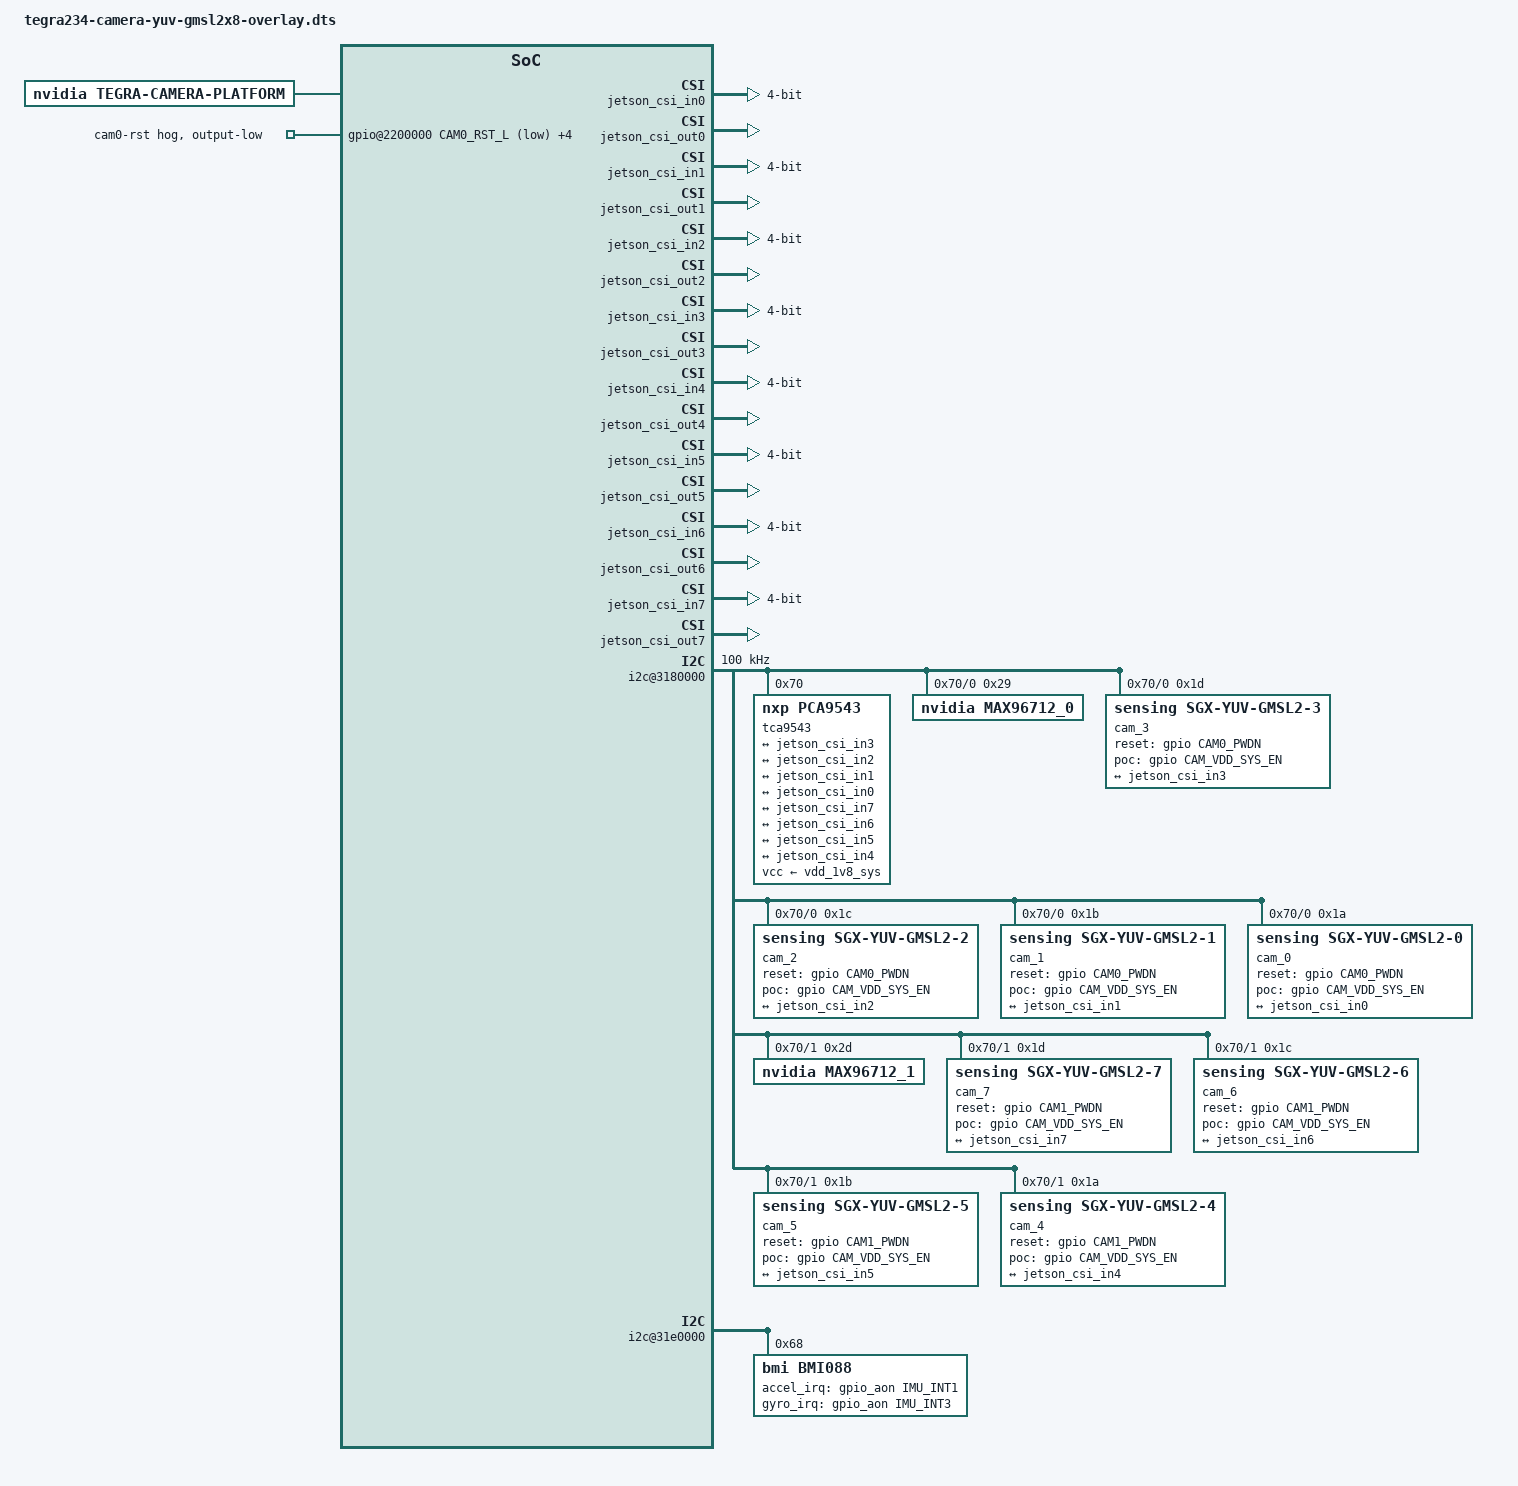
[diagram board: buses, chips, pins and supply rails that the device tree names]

// SPDX-License-Identifier: GPL-2.0-only
// SPDX-FileCopyrightText: Copyright (c) 2018-2023, INTEL CORPORATION.  All rights reserved.

/dts-v1/;
/plugin/;

#include <dt-bindings/clock/tegra234-clock.h>
#include <dt-bindings/gpio/tegra234-gpio.h>
#include <dt-bindings/tegra234-p3737-0000+p3701-0000.h>

/* camera control gpio definitions */
#define CAM0_RST_L		TEGRA234_MAIN_GPIO(H, 3)
#define CAM0_PWDN		TEGRA234_MAIN_GPIO(H, 6)
#define CAM1_RST_L		TEGRA234_MAIN_GPIO(AC, 1)
#define CAM1_PWDN		TEGRA234_MAIN_GPIO(AC, 0)
#define CAM_VDD_SYS_EN	TEGRA234_MAIN_GPIO(AC, 7)

#define IMU_INT1		TEGRA234_AON_GPIO(CC, 2)
#define IMU_INT2		TEGRA234_AON_GPIO(CC, 3)
#define IMU_INT3		TEGRA234_AON_GPIO(CC, 1)
#define IMU_INT4		TEGRA234_AON_GPIO(CC, 0)

#define CAMERA_I2C_MUX_BUS(x) (0x1E + x)

/ {
	overlay-name = "Jetson Sensing SG8A-AGON-G2Y-B1 YUV GMSL2x8";
	jetson-header-name = "Jetson AGX CSI Connector";
	compatible = JETSON_COMPATIBLE;

	fragment@0 {
		target-path = "/";
		__overlay__ {
			tegra-capture-vi {
				num-channels = <8>;
				ports {
					status = "okay";
					port@0 {
						reg = <0>;
						status = "okay";
						jetson_vi_in0: endpoint {
							status = "okay";
							vc-id = <0>;
							port-index = <2>;
							bus-width = <4>;
							remote-endpoint = <&jetson_csi_out0>;
						};
					};
					port@1 {
						reg = <1>;
						status = "okay";
						jetson_vi_in1: endpoint {
							status = "okay";
							vc-id = <1>;
							port-index = <2>;
							bus-width = <4>;
							remote-endpoint = <&jetson_csi_out1>;
						};
					};
					port@2 {
						reg = <2>;
						status = "okay";
						jetson_vi_in2: endpoint {
							status = "okay";
							vc-id = <2>;
							port-index = <0>;
							bus-width = <4>;
							remote-endpoint = <&jetson_csi_out2>;
						};
					};
					port@3 {
						reg = <3>;
						status = "okay";
						jetson_vi_in3: endpoint {
							status = "okay";
							vc-id = <3>;
							port-index = <0>;
							bus-width = <4>;
							remote-endpoint = <&jetson_csi_out3>;
						};
					};
					port@4 {
						reg = <4>;
						status = "okay";
						jetson_vi_in4: endpoint {
							status = "okay";
							vc-id = <0>;
							port-index = <5>;
							bus-width = <4>;
							remote-endpoint = <&jetson_csi_out4>;
						};
					};
					port@5 {
						reg = <5>;
						status = "okay";
						jetson_vi_in5: endpoint {
							status = "okay";
							vc-id = <1>;
							port-index = <5>;
							bus-width = <4>;
							remote-endpoint = <&jetson_csi_out5>;
						};
					};
					port@6 {
						reg = <6>;
						status = "okay";
						jetson_vi_in6: endpoint {
							status = "okay";
							vc-id = <2>;
							port-index = <4>;
							bus-width = <4>;
							remote-endpoint = <&jetson_csi_out6>;
						};
					};
					port@7 {
						reg = <7>;
						status = "okay";
						jetson_vi_in7: endpoint {
							status = "okay";
							vc-id = <3>;
							port-index = <4>;
							bus-width = <4>;
							remote-endpoint = <&jetson_csi_out7>;
						};
					};
				};
			};
			
			tegra-camera-platform {
				compatible = "nvidia, tegra-camera-platform";

				num_csi_lanes = <16>;
				max_lane_speed = <2500000>;
				min_bits_per_pixel = <16>;
				vi_peak_byte_per_pixel = <2>;
				vi_bw_margin_pct = <25>;
				isp_peak_byte_per_pixel = <5>;
				isp_bw_margin_pct = <25>;

				modules {
					status = "okay";
					module0 {
						status = "okay";
						badge = "cam0_bottomleft";
						position = "bottomleft";
						orientation = "1";
						drivernode0 {
							status = "okay";
							pcl_id = "v4l2_sensor";
							sysfs-device-tree = "/sys/firmware/devicetree/base/bus@0/i2c@3180000/tca9543@70/i2c@0/cam_0@1a";
						};
					};
					module1 {
						status = "okay";
						badge = "cam1_bottomright";
						position = "bottomright";
						orientation = "1";
						drivernode0 {
							status = "okay";
							pcl_id = "v4l2_sensor";
							sysfs-device-tree = "/sys/firmware/devicetree/base/bus@0/i2c@3180000/tca9543@70/i2c@0/cam_1@1b";
						};
					};
					module2 {
						status = "okay";
						badge = "cam2_centerleft";
						position = "centerleft";
						orientation = "1";
						drivernode0 {
							status = "okay";
							pcl_id = "v4l2_sensor";
							sysfs-device-tree = "/sys/firmware/devicetree/base/bus@0/i2c@3180000/tca9543@70/i2c@0/cam_2@1c";
						};
					};
					module3 {
						status = "okay";
						badge = "cam3_centerright";
						position = "centerright";
						orientation = "1";
						drivernode0 {
							status = "okay";
							pcl_id = "v4l2_sensor";
							sysfs-device-tree = "/sys/firmware/devicetree/base/bus@0/i2c@3180000/tca9543@70/i2c@0/cam_3@1d";
						};
					};
					module4 {
						status = "okay";
						badge = "cam4_topleft";
						position = "topleft";
						orientation = "1";
						drivernode0 {
							status = "okay";
							pcl_id = "v4l2_sensor";
							sysfs-device-tree = "/sys/firmware/devicetree/base/bus@0/i2c@3180000/tca9543@70/i2c@1/cam_4@1a";
						};
					};
					module5 {
						status = "okay";
						badge = "cam5_topright";
						position = "topright";
						orientation = "1";
						drivernode0 {
							status = "okay";
							pcl_id = "v4l2_sensor";
							sysfs-device-tree = "/sys/firmware/devicetree/base/bus@0/i2c@3180000/tca9543@70/i2c@1/cam_5@1b";
						};
					};
					module6 {
						status = "okay";
						badge = "cam6_front";
						position = "front";
						orientation = "1";
						drivernode0 {
							status = "okay";
							pcl_id = "v4l2_sensor";
							sysfs-device-tree = "/sys/firmware/devicetree/base/bus@0/i2c@3180000/tca9543@70/i2c@1/cam_6@1c";
						};
					};
					module7 {
						status = "okay";
						badge = "cam7_rear";
						position = "rear";
						orientation = "1";
						drivernode0 {
							status = "okay";
							pcl_id = "v4l2_sensor";
							sysfs-device-tree = "/sys/firmware/devicetree/base/bus@0/i2c@3180000/tca9543@70/i2c@1/cam_7@1d";
						};
					};
				};
			};

			bus@0 {
				/* set camera gpio direction to output */
				gpio@2200000 {
					camera-control-output-low {
						gpio-hog;
						output-low;
						gpios = <CAM0_RST_L 1 CAM0_PWDN 0 CAM1_RST_L 1 CAM1_PWDN 0 CAM_VDD_SYS_EN 0>;
						label = "cam0-rst", "cam0-pwdn","cam1-rst", "cam1-pwdn", "cam_vdd_sys_en";
					};
				};

				host1x@13e00000 {
					nvcsi@15a00000 {
						num-channels = <8>;
						channel@0 {
							reg = <0>;
							status = "okay";
							ports {
								status = "okay";
								port@0 {
									reg = <0>;
									status = "okay";
									jetson_csi_in0: endpoint@0 {
										status = "okay";
										port-index = <2>;
										bus-width = <4>;
										remote-endpoint = <&cam_csi_out0>;
									};
								};
								port@1 {
									reg = <1>;
									status = "okay";
									jetson_csi_out0: endpoint@1 {
										status = "okay";
										remote-endpoint = <&jetson_vi_in0>;
									};
								};
							};
						};
						channel@1 {
							reg = <1>;
							status = "okay";
							ports {
								status = "okay";
								port@0 {
									reg = <0>;
									status = "okay";
									jetson_csi_in1: endpoint@2 {
										status = "okay";
										port-index = <2>;
										bus-width = <4>;
										remote-endpoint = <&cam_csi_out1>;
									};
								};
								port@1 {
									reg = <1>;
									status = "okay";
									jetson_csi_out1: endpoint@3 {
										status = "okay";
										remote-endpoint = <&jetson_vi_in1>;
									};
								};
							};
						};
						channel@2 {
							reg = <2>;
							status = "okay";
							ports {
								status = "okay";
								port@0 {
									reg = <0>;
									status = "okay";
									jetson_csi_in2: endpoint@4 {
										status = "okay";
										port-index = <0>;
										bus-width = <4>;
										remote-endpoint = <&cam_csi_out2>;
									};
								};
								port@1 {
									reg = <1>;
									status = "okay";
									jetson_csi_out2: endpoint@5 {
										status = "okay";
										remote-endpoint = <&jetson_vi_in2>;
									};
								};
							};
						};
						channel@3 {
							reg = <3>;
							status = "okay";
							ports {
								status = "okay";
								port@0 {
									reg = <0>;
									status = "okay";
									jetson_csi_in3: endpoint@6 {
										status = "okay";
										port-index = <0>;
										bus-width = <4>;
										remote-endpoint = <&cam_csi_out3>;
									};
								};
								port@1 {
									reg = <1>;
									status = "okay";
									jetson_csi_out3: endpoint@7 {
										status = "okay";
										remote-endpoint = <&jetson_vi_in3>;
									};
								};
							};
						};
						channel@4 {
							reg = <4>;
							status = "okay";
							ports {
								status = "okay";
								port@0 {
									reg = <0>;
									status = "okay";
									jetson_csi_in4: endpoint@8 {
										status = "okay";
										port-index = <6>;
										bus-width = <4>;
										remote-endpoint = <&cam_csi_out4>;
									};
								};
								port@1 {
									reg = <1>;
									status = "okay";
									jetson_csi_out4: endpoint@9 {
										status = "okay";
										remote-endpoint = <&jetson_vi_in4>;
									};
								};
							};
						};
						channel@5 {
							reg = <5>;
							status = "okay";
							ports {
								status = "okay";
								port@0 {
									reg = <0>;
									status = "okay";
									jetson_csi_in5: endpoint@10 {
										status = "okay";
										port-index = <6>;
										bus-width = <4>;
										remote-endpoint = <&cam_csi_out5>;
									};
								};
								port@1 {
									reg = <1>;
									status = "okay";
									jetson_csi_out5: endpoint@11 {
										status = "okay";
										remote-endpoint = <&jetson_vi_in5>;
									};
								};
							};
						};
						channel@6 {
							reg = <6>;
							status = "okay";
							ports {
								status = "okay";
								port@0 {
									reg = <0>;
									status = "okay";
									jetson_csi_in6: endpoint@12 {
										status = "okay";
										port-index = <4>;
										bus-width = <4>;
										remote-endpoint = <&cam_csi_out6>;
									};
								};
								port@1 {
									reg = <1>;
									status = "okay";
									jetson_csi_out6: endpoint@13 {
										status = "okay";
										remote-endpoint = <&jetson_vi_in6>;
									};
								};
							};
						};
						channel@7 {
							reg = <7>;
							status = "okay";
							ports {
								status = "okay";
								port@0 {
									reg = <0>;
									status = "okay";
									jetson_csi_in7: endpoint@14 {
										status = "okay";
										port-index = <4>;
										bus-width = <4>;
										remote-endpoint = <&cam_csi_out7>;
									};
								};
								port@1 {
									reg = <1>;
									status = "okay";
									jetson_csi_out7: endpoint@15 {
										status = "okay";
										remote-endpoint = <&jetson_vi_in7>;
									};
								};
							};
						};
					};
				};
				i2c@3180000 {
					clock-frequency = <100000>;
					tca9543@70 {
						status = "okay";
						reg = <0x70>;
						compatible = "nxp,pca9543";
						#address-cells = <1>;
						#size-cells = <0>;
						skip_mux_detect = "yes";
						vcc-supply = <&vdd_1v8_sys>;
						force_bus_start = <CAMERA_I2C_MUX_BUS(0)>;

						i2c@0 {
							status = "okay";
							reg = <0>;
							i2c-mux,deselect-on-exit;
							#address-cells = <1>;
							#size-cells = <0>;

							max96712_0@29 {
								compatible = "nvidia,max96712_0";
								reg = <0x29>;
							};

							cam_3@1d {
								status = "okay";
								compatible = "sensing,sgx-yuv-gmsl2-3";
								reg = <0x1d>;

								devnode = "video3";
								physical_w = "15.0";
								physical_h = "12.5";
								sensor_model ="sgx-yuv-gmsl2";

								post_crop_frame_drop = "0";
								use_decibel_gain = "true";

								/* enable CID_SENSOR_MODE_ID for sensor modes selection */
								use_sensor_mode_id = "true";

								clocks = <&bpmp TEGRA234_CLK_EXTPERIPH1>,
									<&bpmp TEGRA234_CLK_EXTPERIPH1>;
								clock-names = "extperiph1", "pllp_grtba";
								mclk = "extperiph1";
								der_id = <0>;
								reset-gpios = <&gpio CAM0_PWDN GPIO_ACTIVE_HIGH>;
								poc-gpios = <&gpio CAM_VDD_SYS_EN GPIO_ACTIVE_HIGH>;
								
								mode0 {/*mode SENSOR_MODE_1280X720_30FPS*/
									mclk_khz = "24000";
									num_lanes = "4";
									tegra_sinterface = "serial_a";
									vc_id = "3";
									discontinuous_clk = "no";
									dpcm_enable = "false";
									cil_settletime = "0";
									dynamic_pixel_bit_depth = "16";
									csi_pixel_bit_depth = "16";
									mode_type = "yuv";
									pixel_phase = "uyvy";
									
									active_w = "1280";
									active_h = "720";
									readout_orientation = "0";
									line_length = "2200";
									inherent_gain = "1";
									pix_clk_hz = "150000000";
									serdes_pix_clk_hz = "350000000";
									gain_factor = "16";
									min_gain_val = "16"; /* 1.00x */
									max_gain_val = "356"; /* 22x */
									step_gain_val = "1";
									default_gain = "16"; /* 1.00x */
									min_hdr_ratio = "1";
									max_hdr_ratio = "1";
									framerate_factor = "1000000";
									min_framerate = "30000000";
									max_framerate = "30000000";
									step_framerate = "1";
									default_framerate = "30000000";
									exposure_factor = "1000000";
									min_exp_time = "59"; /*us, 2 lines*/
									max_exp_time = "33333";
									step_exp_time = "1";
									default_exp_time = "33333";/* us */
									embedded_metadata_height = "0";
								};
								mode1 {/*mode SENSOR_MODE_1920X1080_30FPS*/
									mclk_khz = "24000";
									num_lanes = "4";
									tegra_sinterface = "serial_a";
									vc_id = "3";
									discontinuous_clk = "no";
									dpcm_enable = "false";
									cil_settletime = "0";
									dynamic_pixel_bit_depth = "16";
									csi_pixel_bit_depth = "16";
									mode_type = "yuv";
									pixel_phase = "uyvy";
									
									active_w = "1920";
									active_h = "1080";
									readout_orientation = "0";
									line_length = "2200";
									inherent_gain = "1";
									pix_clk_hz = "74250000";
									serdes_pix_clk_hz = "300000000";

									gain_factor = "100";
									min_gain_val = "100"; /* dB */
									max_gain_val = "1600"; /* dB */
									step_gain_val = "1"; /* 0.1 */
									default_gain = "100";
									min_hdr_ratio = "1";
									max_hdr_ratio = "1";
									framerate_factor = "1000000";
									min_framerate = "30000000";
									max_framerate = "30000000";
									step_framerate = "1";
									default_framerate = "30000000";
									exposure_factor = "1000000";
									min_exp_time = "28"; /*us, 2 lines*/
									max_exp_time = "22000";
									step_exp_time = "1";
									default_exp_time = "22000";/* us */
									embedded_metadata_height = "0";
								};
								mode2 {/*mode SENSOR_MODE_1920X1536_30FPS*/
									mclk_khz = "24000";
									num_lanes = "4";
									tegra_sinterface = "serial_a";
									vc_id = "3";
									discontinuous_clk = "no";
									dpcm_enable = "false";
									cil_settletime = "0";
									dynamic_pixel_bit_depth = "16";
									csi_pixel_bit_depth = "16";
									mode_type = "yuv";
									pixel_phase = "uyvy";

									active_w = "1920";
									active_h = "1536";
									readout_orientation = "0";
									line_length = "2200";
									inherent_gain = "1";
									pix_clk_hz = "74250000";
									serdes_pix_clk_hz = "300000000";

									gain_factor = "100";
									min_gain_val = "100"; /* dB */
									max_gain_val = "1600"; /* dB */
									step_gain_val = "1"; /* 0.1 */
									default_gain = "100";
									min_hdr_ratio = "1";
									max_hdr_ratio = "1";
									framerate_factor = "1000000";
									min_framerate = "30000000";
									max_framerate = "30000000";
									step_framerate = "1";
									default_framerate = "30000000";
									exposure_factor = "1000000";
									min_exp_time = "28"; /*us, 2 lines*/
									max_exp_time = "22000";
									step_exp_time = "1";
									default_exp_time = "22000";/* us */
									embedded_metadata_height = "0";
								};
								mode3 {/*mode SENSOR_MODE_2880X1860_30FPS*/
									mclk_khz = "24000";
									num_lanes = "4";
									tegra_sinterface = "serial_a";
									vc_id = "3";
									discontinuous_clk = "no";
									dpcm_enable = "false";
									cil_settletime = "0";
									dynamic_pixel_bit_depth = "16";
									csi_pixel_bit_depth = "16";
									mode_type = "yuv";
									pixel_phase = "uyvy";
								
									active_w = "2880";
									active_h = "1860";
									readout_orientation = "0";
									line_length = "3200";
									inherent_gain = "1";
									pix_clk_hz = "297000000";
									serdes_pix_clk_hz = "300000000";

									gain_factor = "100";
									min_gain_val = "100"; /* dB */
									max_gain_val = "1600"; /* dB */
									step_gain_val = "1"; /* 0.1 */
									default_gain = "100";
									min_hdr_ratio = "1";
									max_hdr_ratio = "1";
									framerate_factor = "1000000";
									min_framerate = "30000000";
									max_framerate = "30000000";
									step_framerate = "1";
									default_framerate = "30000000";
									exposure_factor = "1000000";
									min_exp_time = "59"; /*us, 2 lines*/
									max_exp_time = "33333";
									step_exp_time = "1";
									default_exp_time = "33333";/* us */
									embedded_metadata_height = "0";
								};
								mode4 {/*mode SENSOR_MODE_3840X2160_30FPS*/
									mclk_khz = "24000";
									num_lanes = "4";
									tegra_sinterface = "serial_a";
									vc_id = "3";
									discontinuous_clk = "no";
									dpcm_enable = "false";
									cil_settletime = "0";
									dynamic_pixel_bit_depth = "16";
									csi_pixel_bit_depth = "16";
									mode_type = "yuv";
									pixel_phase = "uyvy";

									active_w = "3840";
									active_h = "2160";
									readout_orientation = "0";
									line_length = "4200";
									inherent_gain = "1";
									pix_clk_hz = "248832000";
									serdes_pix_clk_hz = "375000000";

									gain_factor = "100";
									min_gain_val = "100"; /* dB */
									max_gain_val = "1600"; /* dB */
									step_gain_val = "1"; /* 0.1 */
									default_gain = "100";
									min_hdr_ratio = "1";
									max_hdr_ratio = "1";
									framerate_factor = "1000000";
									min_framerate = "30000000";
									max_framerate = "30000000";
									step_framerate = "1";
									default_framerate = "30000000";
									exposure_factor = "1000000";
									min_exp_time = "28"; /*us, 2 lines*/
									max_exp_time = "22000";
									step_exp_time = "1";
									default_exp_time = "22000";/* us */
									embedded_metadata_height = "0";
								};

								ports {
									#address-cells = <1>;
									#size-cells = <0>;
									port@0 {
										reg = <0>;
										cam_csi_out3: endpoint {
											vc-id = <3>;
											port-index = <0>;
											bus-width = <4>;
											remote-endpoint = <&jetson_csi_in3>;
										};
									};
								};
							};

							cam_2@1c {
								status = "okay";
								compatible = "sensing,sgx-yuv-gmsl2-2";
								reg = <0x1c>;
								
								devnode = "video2";
								physical_w = "15.0";
								physical_h = "12.5";
								sensor_model ="sgx-yuv-gmsl2";

								post_crop_frame_drop = "0";
								use_decibel_gain = "true";

								/* enable CID_SENSOR_MODE_ID for sensor modes selection */
								use_sensor_mode_id = "true";

								/* Define any required hw resources needed by driver */
								/* ie. clocks, io pins, power sources */
								clocks = <&bpmp TEGRA234_CLK_EXTPERIPH1>,
									<&bpmp TEGRA234_CLK_EXTPERIPH1>;
								clock-names = "extperiph1", "pllp_grtba";
								mclk = "extperiph1";
								der_id = <0>;
								reset-gpios = <&gpio CAM0_PWDN GPIO_ACTIVE_HIGH>;
								poc-gpios = <&gpio CAM_VDD_SYS_EN GPIO_ACTIVE_HIGH>;

								mode0 {/*mode SENSOR_MODE_1280X720_30FPS*/
									mclk_khz = "24000";
									num_lanes = "4";
									tegra_sinterface = "serial_a";
									vc_id = "2";
									discontinuous_clk = "no";
									dpcm_enable = "false";
									cil_settletime = "0";
									dynamic_pixel_bit_depth = "16";
									csi_pixel_bit_depth = "16";
									mode_type = "yuv";
									pixel_phase = "uyvy";
									
									active_w = "1280";
									active_h = "720";
									readout_orientation = "0";
									line_length = "2200";
									inherent_gain = "1";
									pix_clk_hz = "150000000";
									serdes_pix_clk_hz = "350000000";
									gain_factor = "16";
									min_gain_val = "16"; /* 1.00x */
									max_gain_val = "356"; /* 22x */
									step_gain_val = "1";
									default_gain = "16"; /* 1.00x */
									min_hdr_ratio = "1";
									max_hdr_ratio = "1";
									framerate_factor = "1000000";
									min_framerate = "30000000";
									max_framerate = "30000000";
									step_framerate = "1";
									default_framerate = "30000000";
									exposure_factor = "1000000";
									min_exp_time = "59"; /*us, 2 lines*/
									max_exp_time = "33333";
									step_exp_time = "1";
									default_exp_time = "33333";/* us */
									embedded_metadata_height = "0";
								};
								mode1 {/*mode SENSOR_MODE_1920X1080_30FPS*/
									mclk_khz = "24000";
									num_lanes = "4";
									tegra_sinterface = "serial_a";
									vc_id = "2";
									discontinuous_clk = "no";
									dpcm_enable = "false";
									cil_settletime = "0";
									dynamic_pixel_bit_depth = "16";
									csi_pixel_bit_depth = "16";
									mode_type = "yuv";
									pixel_phase = "uyvy";
									
									active_w = "1920";
									active_h = "1080";
									readout_orientation = "0";
									line_length = "2200";
									inherent_gain = "1";
									pix_clk_hz = "74250000";
									serdes_pix_clk_hz = "300000000";

									gain_factor = "100";
									min_gain_val = "100"; /* dB */
									max_gain_val = "1600"; /* dB */
									step_gain_val = "1"; /* 0.1 */
									default_gain = "100";
									min_hdr_ratio = "1";
									max_hdr_ratio = "1";
									framerate_factor = "1000000";
									min_framerate = "30000000";
									max_framerate = "30000000";
									step_framerate = "1";
									default_framerate = "30000000";
									exposure_factor = "1000000";
									min_exp_time = "28"; /*us, 2 lines*/
									max_exp_time = "22000";
									step_exp_time = "1";
									default_exp_time = "22000";/* us */
									embedded_metadata_height = "0";
								};
								mode2 {/*mode SENSOR_MODE_1920X1536_30FPS*/
									mclk_khz = "24000";
									num_lanes = "4";
									tegra_sinterface = "serial_a";
									vc_id = "2";
									discontinuous_clk = "no";
									dpcm_enable = "false";
									cil_settletime = "0";
									dynamic_pixel_bit_depth = "16";
									csi_pixel_bit_depth = "16";
									mode_type = "yuv";
									pixel_phase = "uyvy";

									active_w = "1920";
									active_h = "1536";
									readout_orientation = "0";
									line_length = "2200";
									inherent_gain = "1";
									pix_clk_hz = "74250000";
									serdes_pix_clk_hz = "300000000";

									gain_factor = "100";
									min_gain_val = "100"; /* dB */
									max_gain_val = "1600"; /* dB */
									step_gain_val = "1"; /* 0.1 */
									default_gain = "100";
									min_hdr_ratio = "1";
									max_hdr_ratio = "1";
									framerate_factor = "1000000";
									min_framerate = "30000000";
									max_framerate = "30000000";
									step_framerate = "1";
									default_framerate = "30000000";
									exposure_factor = "1000000";
									min_exp_time = "28"; /*us, 2 lines*/
									max_exp_time = "22000";
									step_exp_time = "1";
									default_exp_time = "22000";/* us */
									embedded_metadata_height = "0";
								};
								mode3 {/*mode SENSOR_MODE_2880X1860_30FPS*/
									mclk_khz = "24000";
									num_lanes = "4";
									tegra_sinterface = "serial_a";
									vc_id = "2";
									discontinuous_clk = "no";
									dpcm_enable = "false";
									cil_settletime = "0";
									dynamic_pixel_bit_depth = "16";
									csi_pixel_bit_depth = "16";
									mode_type = "yuv";
									pixel_phase = "uyvy";
								
									active_w = "2880";
									active_h = "1860";
									readout_orientation = "0";
									line_length = "3200";
									inherent_gain = "1";
									pix_clk_hz = "297000000";
									serdes_pix_clk_hz = "300000000";

									gain_factor = "100";
									min_gain_val = "100"; /* dB */
									max_gain_val = "1600"; /* dB */
									step_gain_val = "1"; /* 0.1 */
									default_gain = "100";
									min_hdr_ratio = "1";
									max_hdr_ratio = "1";
									framerate_factor = "1000000";
									min_framerate = "30000000";
									max_framerate = "30000000";
									step_framerate = "1";
									default_framerate = "30000000";
									exposure_factor = "1000000";
									min_exp_time = "59"; /*us, 2 lines*/
									max_exp_time = "33333";
									step_exp_time = "1";
									default_exp_time = "33333";/* us */
									embedded_metadata_height = "0";
								};
								mode4 {/*mode SENSOR_MODE_3840X2160_30FPS*/
									mclk_khz = "24000";
									num_lanes = "4";
									tegra_sinterface = "serial_a";
									vc_id = "2";
									discontinuous_clk = "no";
									dpcm_enable = "false";
									cil_settletime = "0";
									dynamic_pixel_bit_depth = "16";
									csi_pixel_bit_depth = "16";
									mode_type = "yuv";
									pixel_phase = "uyvy";

									active_w = "3840";
									active_h = "2160";
									readout_orientation = "0";
									line_length = "4200";
									inherent_gain = "1";
									pix_clk_hz = "248832000";
									serdes_pix_clk_hz = "375000000";

									gain_factor = "100";
									min_gain_val = "100"; /* dB */
									max_gain_val = "1600"; /* dB */
									step_gain_val = "1"; /* 0.1 */
									default_gain = "100";
									min_hdr_ratio = "1";
									max_hdr_ratio = "1";
									framerate_factor = "1000000";
									min_framerate = "30000000";
									max_framerate = "30000000";
									step_framerate = "1";
									default_framerate = "30000000";
									exposure_factor = "1000000";
									min_exp_time = "28"; /*us, 2 lines*/
									max_exp_time = "22000";
									step_exp_time = "1";
									default_exp_time = "22000";/* us */
									embedded_metadata_height = "0";
								};

								ports {
									#address-cells = <1>;
									#size-cells = <0>;
									port@0 {
										reg = <0>;
										cam_csi_out2: endpoint {
											vc-id = <2>;
											port-index = <0>;
											bus-width = <4>;
											remote-endpoint = <&jetson_csi_in2>;
										};
									};
								};
							};

							cam_1@1b {
								status = "okay";
								compatible = "sensing,sgx-yuv-gmsl2-1";
								reg = <0x1b>;
								
								devnode = "video1";
								physical_w = "15.0";
								physical_h = "12.5";
								sensor_model ="sgx-yuv-gmsl2";

								post_crop_frame_drop = "0";
								use_decibel_gain = "true";

								/* enable CID_SENSOR_MODE_ID for sensor modes selection */
								use_sensor_mode_id = "true";

								clocks = <&bpmp TEGRA234_CLK_EXTPERIPH1>,
									<&bpmp TEGRA234_CLK_EXTPERIPH1>;
								clock-names = "extperiph1", "pllp_grtba";
								mclk = "extperiph1";
								der_id = <0>;
								reset-gpios = <&gpio CAM0_PWDN GPIO_ACTIVE_HIGH>;
								poc-gpios = <&gpio CAM_VDD_SYS_EN GPIO_ACTIVE_HIGH>;
								
								mode0 {/*mode SENSOR_MODE_1280X720_30FPS*/
									mclk_khz = "24000";
									num_lanes = "4";
									tegra_sinterface = "serial_c";
									vc_id = "1";
									discontinuous_clk = "no";
									dpcm_enable = "false";
									cil_settletime = "0";
									dynamic_pixel_bit_depth = "16";
									csi_pixel_bit_depth = "16";
									mode_type = "yuv";
									pixel_phase = "uyvy";
									
									active_w = "1280";
									active_h = "720";
									readout_orientation = "0";
									line_length = "2200";
									inherent_gain = "1";
									pix_clk_hz = "150000000";
									serdes_pix_clk_hz = "350000000";
									gain_factor = "16";
									min_gain_val = "16"; /* 1.00x */
									max_gain_val = "356"; /* 22x */
									step_gain_val = "1";
									default_gain = "16"; /* 1.00x */
									min_hdr_ratio = "1";
									max_hdr_ratio = "1";
									framerate_factor = "1000000";
									min_framerate = "30000000";
									max_framerate = "30000000";
									step_framerate = "1";
									default_framerate = "30000000";
									exposure_factor = "1000000";
									min_exp_time = "59"; /*us, 2 lines*/
									max_exp_time = "33333";
									step_exp_time = "1";
									default_exp_time = "33333";/* us */
									embedded_metadata_height = "0";
								};
								mode1 {/*mode SENSOR_MODE_1920X1080_30FPS*/
									mclk_khz = "24000";
									num_lanes = "4";
									tegra_sinterface = "serial_c";
									vc_id = "1";
									discontinuous_clk = "no";
									dpcm_enable = "false";
									cil_settletime = "0";
									dynamic_pixel_bit_depth = "16";
									csi_pixel_bit_depth = "16";
									mode_type = "yuv";
									pixel_phase = "uyvy";

									active_w = "1920";
									active_h = "1080";
									readout_orientation = "0";
									line_length = "2200";
									inherent_gain = "1";
									pix_clk_hz = "74250000";
									serdes_pix_clk_hz = "300000000";

									gain_factor = "100";
									min_gain_val = "100"; /* dB */
									max_gain_val = "1600"; /* dB */
									step_gain_val = "1"; /* 0.1 */
									default_gain = "100";
									min_hdr_ratio = "1";
									max_hdr_ratio = "1";
									framerate_factor = "1000000";
									min_framerate = "30000000";
									max_framerate = "30000000";
									step_framerate = "1";
									default_framerate = "30000000";
									exposure_factor = "1000000";
									min_exp_time = "28"; /*us, 2 lines*/
									max_exp_time = "22000";
									step_exp_time = "1";
									default_exp_time = "22000";/* us */
									embedded_metadata_height = "0";
								};
								mode2 {/*mode SENSOR_MODE_1920X1536_30FPS*/
									mclk_khz = "24000";
									num_lanes = "4";
									tegra_sinterface = "serial_c";
									vc_id = "1";
									discontinuous_clk = "no";
									dpcm_enable = "false";
									cil_settletime = "0";
									dynamic_pixel_bit_depth = "16";
									csi_pixel_bit_depth = "16";
									mode_type = "yuv";
									pixel_phase = "uyvy";

									active_w = "1920";
									active_h = "1536";
									readout_orientation = "0";
									line_length = "2200";
									inherent_gain = "1";
									pix_clk_hz = "74250000";
									serdes_pix_clk_hz = "300000000";

									gain_factor = "100";
									min_gain_val = "100"; /* dB */
									max_gain_val = "1600"; /* dB */
									step_gain_val = "1"; /* 0.1 */
									default_gain = "100";
									min_hdr_ratio = "1";
									max_hdr_ratio = "1";
									framerate_factor = "1000000";
									min_framerate = "30000000";
									max_framerate = "30000000";
									step_framerate = "1";
									default_framerate = "30000000";
									exposure_factor = "1000000";
									min_exp_time = "28"; /*us, 2 lines*/
									max_exp_time = "22000";
									step_exp_time = "1";
									default_exp_time = "22000";/* us */
									embedded_metadata_height = "0";
								};
								mode3 {/*mode SENSOR_MODE_2880X1860_30FPS*/
									mclk_khz = "24000";
									num_lanes = "4";
									tegra_sinterface = "serial_c";
									vc_id = "1";
									discontinuous_clk = "no";
									dpcm_enable = "false";
									cil_settletime = "0";
									dynamic_pixel_bit_depth = "16";
									csi_pixel_bit_depth = "16";
									mode_type = "yuv";
									pixel_phase = "uyvy";
								
									active_w = "2880";
									active_h = "1860";
									readout_orientation = "0";
									line_length = "3200";
									inherent_gain = "1";
									pix_clk_hz = "297000000";
									serdes_pix_clk_hz = "300000000";

									gain_factor = "100";
									min_gain_val = "100"; /* dB */
									max_gain_val = "1600"; /* dB */
									step_gain_val = "1"; /* 0.1 */
									default_gain = "100";
									min_hdr_ratio = "1";
									max_hdr_ratio = "1";
									framerate_factor = "1000000";
									min_framerate = "30000000";
									max_framerate = "30000000";
									step_framerate = "1";
									default_framerate = "30000000";
									exposure_factor = "1000000";
									min_exp_time = "59"; /*us, 2 lines*/
									max_exp_time = "33333";
									step_exp_time = "1";
									default_exp_time = "33333";/* us */
									embedded_metadata_height = "0";
								};
								mode4 {/*mode SENSOR_MODE_3840X2160_30FPS*/
									mclk_khz = "24000";
									num_lanes = "4";
									tegra_sinterface = "serial_c";
									vc_id = "1";
									discontinuous_clk = "no";
									dpcm_enable = "false";
									cil_settletime = "0";
									dynamic_pixel_bit_depth = "16";
									csi_pixel_bit_depth = "16";
									mode_type = "yuv";
									pixel_phase = "uyvy";

									active_w = "3840";
									active_h = "2160";
									readout_orientation = "0";
									line_length = "4200";
									inherent_gain = "1";
									pix_clk_hz = "248832000";
									serdes_pix_clk_hz = "375000000";

									gain_factor = "100";
									min_gain_val = "100"; /* dB */
									max_gain_val = "1600"; /* dB */
									step_gain_val = "1"; /* 0.1 */
									default_gain = "100";
									min_hdr_ratio = "1";
									max_hdr_ratio = "1";
									framerate_factor = "1000000";
									min_framerate = "30000000";
									max_framerate = "30000000";
									step_framerate = "1";
									default_framerate = "30000000";
									exposure_factor = "1000000";
									min_exp_time = "28"; /*us, 2 lines*/
									max_exp_time = "22000";
									step_exp_time = "1";
									default_exp_time = "22000";/* us */
									embedded_metadata_height = "0";
								};

								ports {
									#address-cells = <1>;
									#size-cells = <0>;
									port@0 {
										reg = <0>;
										cam_csi_out1: endpoint {
											vc-id = <1>;
											port-index = <2>;
											bus-width = <4>;
											remote-endpoint = <&jetson_csi_in1>;
										};
									};
								};
							};

							cam_0@1a {
								status = "okay";
								compatible = "sensing,sgx-yuv-gmsl2-0";
								reg = <0x1a>;
								
								devnode = "video0";
								physical_w = "15.0";
								physical_h = "12.5";
								sensor_model ="sgx-yuv-gmsl2";

								post_crop_frame_drop = "0";
								use_decibel_gain = "true";

								/* enable CID_SENSOR_MODE_ID for sensor modes selection */
								use_sensor_mode_id = "true";

								/* Define any required hw resources needed by driver */
								/* ie. clocks, io pins, power sources */
								clocks = <&bpmp TEGRA234_CLK_EXTPERIPH1>,
									<&bpmp TEGRA234_CLK_EXTPERIPH1>;
								clock-names = "extperiph1", "pllp_grtba";
								mclk = "extperiph1";
								der_id = <0>;
								reset-gpios = <&gpio CAM0_PWDN GPIO_ACTIVE_HIGH>;
								poc-gpios = <&gpio CAM_VDD_SYS_EN GPIO_ACTIVE_HIGH>;

								mode0 {/*mode SENSOR_MODE_1280X720_30FPS*/
									mclk_khz = "24000";
									num_lanes = "4";
									tegra_sinterface = "serial_c";
									vc_id = "0";
									discontinuous_clk = "no";
									dpcm_enable = "false";
									cil_settletime = "0";
									dynamic_pixel_bit_depth = "16";
									csi_pixel_bit_depth = "16";
									mode_type = "yuv";
									pixel_phase = "uyvy";
									
									active_w = "1280";
									active_h = "720";
									readout_orientation = "0";
									line_length = "2200";
									inherent_gain = "1";
									pix_clk_hz = "150000000";
									serdes_pix_clk_hz = "350000000";
									gain_factor = "16";
									min_gain_val = "16"; /* 1.00x */
									max_gain_val = "356"; /* 22x */
									step_gain_val = "1";
									default_gain = "16"; /* 1.00x */
									min_hdr_ratio = "1";
									max_hdr_ratio = "1";
									framerate_factor = "1000000";
									min_framerate = "30000000";
									max_framerate = "30000000";
									step_framerate = "1";
									default_framerate = "30000000";
									exposure_factor = "1000000";
									min_exp_time = "59"; /*us, 2 lines*/
									max_exp_time = "33333";
									step_exp_time = "1";
									default_exp_time = "33333";/* us */
									embedded_metadata_height = "0";
								};
								mode1 {/*mode SENSOR_MODE_1920X1080_30FPS*/
									mclk_khz = "24000";
									num_lanes = "4";
									tegra_sinterface = "serial_c";
									vc_id = "0";
									discontinuous_clk = "no";
									dpcm_enable = "false";
									cil_settletime = "0";
									dynamic_pixel_bit_depth = "16";
									csi_pixel_bit_depth = "16";
									mode_type = "yuv";
									pixel_phase = "uyvy";

									active_w = "1920";
									active_h = "1080";
									readout_orientation = "0";
									line_length = "2200";
									inherent_gain = "1";
									pix_clk_hz = "74250000";
									serdes_pix_clk_hz = "300000000";

									gain_factor = "100";
									min_gain_val = "100"; /* dB */
									max_gain_val = "1600"; /* dB */
									step_gain_val = "1"; /* 0.1 */
									default_gain = "100";
									min_hdr_ratio = "1";
									max_hdr_ratio = "1";
									framerate_factor = "1000000";
									min_framerate = "30000000";
									max_framerate = "30000000";
									step_framerate = "1";
									default_framerate = "30000000";
									exposure_factor = "1000000";
									min_exp_time = "28"; /*us, 2 lines*/
									max_exp_time = "22000";
									step_exp_time = "1";
									default_exp_time = "22000";/* us */
									embedded_metadata_height = "0";
								};
								mode2 {/*mode SENSOR_MODE_1920X1536_30FPS*/
									mclk_khz = "24000";
									num_lanes = "4";
									tegra_sinterface = "serial_c";
									vc_id = "0";
									discontinuous_clk = "no";
									dpcm_enable = "false";
									cil_settletime = "0";
									dynamic_pixel_bit_depth = "16";
									csi_pixel_bit_depth = "16";
									mode_type = "yuv";
									pixel_phase = "uyvy";

									active_w = "1920";
									active_h = "1536";
									readout_orientation = "0";
									line_length = "2200";
									inherent_gain = "1";
									pix_clk_hz = "74250000";
									serdes_pix_clk_hz = "300000000";

									gain_factor = "100";
									min_gain_val = "100"; /* dB */
									max_gain_val = "1600"; /* dB */
									step_gain_val = "1"; /* 0.1 */
									default_gain = "100";
									min_hdr_ratio = "1";
									max_hdr_ratio = "1";
									framerate_factor = "1000000";
									min_framerate = "30000000";
									max_framerate = "30000000";
									step_framerate = "1";
									default_framerate = "30000000";
									exposure_factor = "1000000";
									min_exp_time = "28"; /*us, 2 lines*/
									max_exp_time = "22000";
									step_exp_time = "1";
									default_exp_time = "22000";/* us */
									embedded_metadata_height = "0";
								};
								mode3 {/*mode SENSOR_MODE_2880X1860_30FPS*/
									mclk_khz = "24000";
									num_lanes = "4";
									tegra_sinterface = "serial_c";
									vc_id = "0";
									discontinuous_clk = "no";
									dpcm_enable = "false";
									cil_settletime = "0";
									dynamic_pixel_bit_depth = "16";
									csi_pixel_bit_depth = "16";
									mode_type = "yuv";
									pixel_phase = "uyvy";
								
									active_w = "2880";
									active_h = "1860";
									readout_orientation = "0";
									line_length = "3200";
									inherent_gain = "1";
									pix_clk_hz = "297000000";
									serdes_pix_clk_hz = "300000000";

									gain_factor = "100";
									min_gain_val = "100"; /* dB */
									max_gain_val = "1600"; /* dB */
									step_gain_val = "1"; /* 0.1 */
									default_gain = "100";
									min_hdr_ratio = "1";
									max_hdr_ratio = "1";
									framerate_factor = "1000000";
									min_framerate = "30000000";
									max_framerate = "30000000";
									step_framerate = "1";
									default_framerate = "30000000";
									exposure_factor = "1000000";
									min_exp_time = "59"; /*us, 2 lines*/
									max_exp_time = "33333";
									step_exp_time = "1";
									default_exp_time = "33333";/* us */
									embedded_metadata_height = "0";
								};
								mode4 {/*mode SENSOR_MODE_3840X2160_30FPS*/
									mclk_khz = "24000";
									num_lanes = "4";
									tegra_sinterface = "serial_c";
									vc_id = "0";
									discontinuous_clk = "no";
									dpcm_enable = "false";
									cil_settletime = "0";
									dynamic_pixel_bit_depth = "16";
									csi_pixel_bit_depth = "16";
									mode_type = "yuv";
									pixel_phase = "uyvy";

									active_w = "3840";
									active_h = "2160";
									readout_orientation = "0";
									line_length = "4200";
									inherent_gain = "1";
									pix_clk_hz = "248832000";
									serdes_pix_clk_hz = "375000000";

									gain_factor = "100";
									min_gain_val = "100"; /* dB */
									max_gain_val = "1600"; /* dB */
									step_gain_val = "1"; /* 0.1 */
									default_gain = "100";
									min_hdr_ratio = "1";
									max_hdr_ratio = "1";
									framerate_factor = "1000000";
									min_framerate = "30000000";
									max_framerate = "30000000";
									step_framerate = "1";
									default_framerate = "30000000";
									exposure_factor = "1000000";
									min_exp_time = "28"; /*us, 2 lines*/
									max_exp_time = "22000";
									step_exp_time = "1";
									default_exp_time = "22000";/* us */
									embedded_metadata_height = "0";
								};

								ports {
									#address-cells = <1>;
									#size-cells = <0>;
									port@0 {
										reg = <0>;
										cam_csi_out0: endpoint {
											vc-id = <0>;
											port-index = <2>;
											bus-width = <4>;
											remote-endpoint = <&jetson_csi_in0>;
										};
									};
								};
							};
						};
						i2c@1 {
							status = "okay";
							reg = <1>;
							i2c-mux,deselect-on-exit;
							#address-cells = <1>;
							#size-cells = <0>;
							
							max96712_1@2d {
								compatible = "nvidia,max96712_1";
								reg = <0x2d>;
							};

							cam_7@1d {
								status = "okay";
								compatible = "sensing,sgx-yuv-gmsl2-7";
								reg = <0x1d>;
								devnode = "video7";
								physical_w = "15.0";
								physical_h = "12.5";
								sensor_model ="sgx-yuv-gmsl2";

								post_crop_frame_drop = "0";
								use_decibel_gain = "true";

								/* enable CID_SENSOR_MODE_ID for sensor modes selection */
								use_sensor_mode_id = "true";

								clocks = <&bpmp TEGRA234_CLK_EXTPERIPH1>,
									<&bpmp TEGRA234_CLK_EXTPERIPH1>;
								clock-names = "extperiph1", "pllp_grtba";
								mclk = "extperiph1";
								der_id = <1>;
								reset-gpios = <&gpio CAM1_PWDN GPIO_ACTIVE_HIGH>;
								poc-gpios = <&gpio CAM_VDD_SYS_EN GPIO_ACTIVE_HIGH>;
								
								mode0 {/*mode SENSOR_MODE_1280X720_30FPS*/
									mclk_khz = "24000";
									num_lanes = "4";
									tegra_sinterface = "serial_e";
									vc_id = "3";
									discontinuous_clk = "no";
									dpcm_enable = "false";
									cil_settletime = "0";
									dynamic_pixel_bit_depth = "16";
									csi_pixel_bit_depth = "16";
									mode_type = "yuv";
									pixel_phase = "uyvy";
									
									active_w = "1280";
									active_h = "720";
									readout_orientation = "0";
									line_length = "2200";
									inherent_gain = "1";
									pix_clk_hz = "150000000";
									serdes_pix_clk_hz = "350000000";
									gain_factor = "16";
									min_gain_val = "16"; /* 1.00x */
									max_gain_val = "356"; /* 22x */
									step_gain_val = "1";
									default_gain = "16"; /* 1.00x */
									min_hdr_ratio = "1";
									max_hdr_ratio = "1";
									framerate_factor = "1000000";
									min_framerate = "30000000";
									max_framerate = "30000000";
									step_framerate = "1";
									default_framerate = "30000000";
									exposure_factor = "1000000";
									min_exp_time = "59"; /*us, 2 lines*/
									max_exp_time = "33333";
									step_exp_time = "1";
									default_exp_time = "33333";/* us */
									embedded_metadata_height = "0";
								};
								mode1 {/*mode SENSOR_MODE_1920X1080_30FPS*/
									mclk_khz = "24000";
									num_lanes = "4";
									tegra_sinterface = "serial_e";
									vc_id = "3";
									discontinuous_clk = "no";
									dpcm_enable = "false";
									cil_settletime = "0";
									dynamic_pixel_bit_depth = "16";
									csi_pixel_bit_depth = "16";
									mode_type = "yuv";
									pixel_phase = "uyvy";
									
									active_w = "1920";
									active_h = "1080";
									readout_orientation = "0";
									line_length = "2200";
									inherent_gain = "1";
									pix_clk_hz = "74250000";
									serdes_pix_clk_hz = "300000000";

									gain_factor = "100";
									min_gain_val = "100"; /* dB */
									max_gain_val = "1600"; /* dB */
									step_gain_val = "1"; /* 0.1 */
									default_gain = "100";
									min_hdr_ratio = "1";
									max_hdr_ratio = "1";
									framerate_factor = "1000000";
									min_framerate = "30000000";
									max_framerate = "30000000";
									step_framerate = "1";
									default_framerate = "30000000";
									exposure_factor = "1000000";
									min_exp_time = "28"; /*us, 2 lines*/
									max_exp_time = "22000";
									step_exp_time = "1";
									default_exp_time = "22000";/* us */
									embedded_metadata_height = "0";
								};
								mode2 {/*mode SENSOR_MODE_1920X1536_30FPS*/
									mclk_khz = "24000";
									num_lanes = "4";
									tegra_sinterface = "serial_e";
									vc_id = "3";
									discontinuous_clk = "no";
									dpcm_enable = "false";
									cil_settletime = "0";
									dynamic_pixel_bit_depth = "16";
									csi_pixel_bit_depth = "16";
									mode_type = "yuv";
									pixel_phase = "uyvy";

									active_w = "1920";
									active_h = "1536";
									readout_orientation = "0";
									line_length = "2200";
									inherent_gain = "1";
									pix_clk_hz = "74250000";
									serdes_pix_clk_hz = "300000000";

									gain_factor = "100";
									min_gain_val = "100"; /* dB */
									max_gain_val = "1600"; /* dB */
									step_gain_val = "1"; /* 0.1 */
									default_gain = "100";
									min_hdr_ratio = "1";
									max_hdr_ratio = "1";
									framerate_factor = "1000000";
									min_framerate = "30000000";
									max_framerate = "30000000";
									step_framerate = "1";
									default_framerate = "30000000";
									exposure_factor = "1000000";
									min_exp_time = "28"; /*us, 2 lines*/
									max_exp_time = "22000";
									step_exp_time = "1";
									default_exp_time = "22000";/* us */
									embedded_metadata_height = "0";
								};
								mode3 {/*mode SENSOR_MODE_2880X1860_30FPS*/
									mclk_khz = "24000";
									num_lanes = "4";
									tegra_sinterface = "serial_e";
									vc_id = "3";
									discontinuous_clk = "no";
									dpcm_enable = "false";
									cil_settletime = "0";
									dynamic_pixel_bit_depth = "16";
									csi_pixel_bit_depth = "16";
									mode_type = "yuv";
									pixel_phase = "uyvy";
								
									active_w = "2880";
									active_h = "1860";
									readout_orientation = "0";
									line_length = "3200";
									inherent_gain = "1";
									pix_clk_hz = "297000000";
									serdes_pix_clk_hz = "300000000";

									gain_factor = "100";
									min_gain_val = "100"; /* dB */
									max_gain_val = "1600"; /* dB */
									step_gain_val = "1"; /* 0.1 */
									default_gain = "100";
									min_hdr_ratio = "1";
									max_hdr_ratio = "1";
									framerate_factor = "1000000";
									min_framerate = "30000000";
									max_framerate = "30000000";
									step_framerate = "1";
									default_framerate = "30000000";
									exposure_factor = "1000000";
									min_exp_time = "59"; /*us, 2 lines*/
									max_exp_time = "33333";
									step_exp_time = "1";
									default_exp_time = "33333";/* us */
									embedded_metadata_height = "0";
								};
								mode4 {/*mode SENSOR_MODE_3840X2160_30FPS*/
									mclk_khz = "24000";
									num_lanes = "4";
									tegra_sinterface = "serial_e";
									vc_id = "3";
									discontinuous_clk = "no";
									dpcm_enable = "false";
									cil_settletime = "0";
									dynamic_pixel_bit_depth = "16";
									csi_pixel_bit_depth = "16";
									mode_type = "yuv";
									pixel_phase = "uyvy";

									active_w = "3840";
									active_h = "2160";
									readout_orientation = "0";
									line_length = "4200";
									inherent_gain = "1";
									pix_clk_hz = "248832000";
									serdes_pix_clk_hz = "375000000";

									gain_factor = "100";
									min_gain_val = "100"; /* dB */
									max_gain_val = "1600"; /* dB */
									step_gain_val = "1"; /* 0.1 */
									default_gain = "100";
									min_hdr_ratio = "1";
									max_hdr_ratio = "1";
									framerate_factor = "1000000";
									min_framerate = "30000000";
									max_framerate = "30000000";
									step_framerate = "1";
									default_framerate = "30000000";
									exposure_factor = "1000000";
									min_exp_time = "28"; /*us, 2 lines*/
									max_exp_time = "22000";
									step_exp_time = "1";
									default_exp_time = "22000";/* us */
									embedded_metadata_height = "0";
								};

								ports {
									#address-cells = <1>;
									#size-cells = <0>;
									port@0 {
										reg = <0>;
										cam_csi_out7: endpoint {
											vc-id = <3>;
											port-index = <4>;
											bus-width = <4>;
											remote-endpoint = <&jetson_csi_in7>;
										};
									};
								};
							};

							cam_6@1c {
								status = "okay";
								compatible = "sensing,sgx-yuv-gmsl2-6";
								reg = <0x1c>;
								
								devnode = "video6";
								physical_w = "15.0";
								physical_h = "12.5";
								sensor_model ="sgx-yuv-gmsl2";

								post_crop_frame_drop = "0";
								use_decibel_gain = "true";

								/* enable CID_SENSOR_MODE_ID for sensor modes selection */
								use_sensor_mode_id = "true";

								/* Define any required hw resources needed by driver */
								/* ie. clocks, io pins, power sources */
								clocks = <&bpmp TEGRA234_CLK_EXTPERIPH1>,
									<&bpmp TEGRA234_CLK_EXTPERIPH1>;
								clock-names = "extperiph1", "pllp_grtba";
								mclk = "extperiph1";
								der_id = <1>;
								reset-gpios = <&gpio CAM1_PWDN GPIO_ACTIVE_HIGH>;
								poc-gpios = <&gpio CAM_VDD_SYS_EN GPIO_ACTIVE_HIGH>;

								mode0 {/*mode SENSOR_MODE_1280X720_30FPS*/
									mclk_khz = "24000";
									num_lanes = "4";
									tegra_sinterface = "serial_e";
									vc_id = "2";
									discontinuous_clk = "no";
									dpcm_enable = "false";
									cil_settletime = "0";
									dynamic_pixel_bit_depth = "16";
									csi_pixel_bit_depth = "16";
									mode_type = "yuv";
									pixel_phase = "uyvy";
									
									active_w = "1280";
									active_h = "720";
									readout_orientation = "0";
									line_length = "2200";
									inherent_gain = "1";
									pix_clk_hz = "150000000";
									serdes_pix_clk_hz = "350000000";
									gain_factor = "16";
									min_gain_val = "16"; /* 1.00x */
									max_gain_val = "356"; /* 22x */
									step_gain_val = "1";
									default_gain = "16"; /* 1.00x */
									min_hdr_ratio = "1";
									max_hdr_ratio = "1";
									framerate_factor = "1000000";
									min_framerate = "30000000";
									max_framerate = "30000000";
									step_framerate = "1";
									default_framerate = "30000000";
									exposure_factor = "1000000";
									min_exp_time = "59"; /*us, 2 lines*/
									max_exp_time = "33333";
									step_exp_time = "1";
									default_exp_time = "33333";/* us */
									embedded_metadata_height = "0";
								};
								mode1 {/*mode SENSOR_MODE_1920X1080_30FPS*/
									mclk_khz = "24000";
									num_lanes = "4";
									tegra_sinterface = "serial_e";
									vc_id = "2";
									discontinuous_clk = "no";
									dpcm_enable = "false";
									cil_settletime = "0";
									dynamic_pixel_bit_depth = "16";
									csi_pixel_bit_depth = "16";
									mode_type = "yuv";
									pixel_phase = "uyvy";
									
									active_w = "1920";
									active_h = "1080";
									readout_orientation = "0";
									line_length = "2200";
									inherent_gain = "1";
									pix_clk_hz = "74250000";
									serdes_pix_clk_hz = "300000000";

									gain_factor = "100";
									min_gain_val = "100"; /* dB */
									max_gain_val = "1600"; /* dB */
									step_gain_val = "1"; /* 0.1 */
									default_gain = "100";
									min_hdr_ratio = "1";
									max_hdr_ratio = "1";
									framerate_factor = "1000000";
									min_framerate = "30000000";
									max_framerate = "30000000";
									step_framerate = "1";
									default_framerate = "30000000";
									exposure_factor = "1000000";
									min_exp_time = "28"; /*us, 2 lines*/
									max_exp_time = "22000";
									step_exp_time = "1";
									default_exp_time = "22000";/* us */
									embedded_metadata_height = "0";
								};
								mode2 {/*mode SENSOR_MODE_1920X1536_30FPS*/
									mclk_khz = "24000";
									num_lanes = "4";
									tegra_sinterface = "serial_e";
									vc_id = "2";
									discontinuous_clk = "no";
									dpcm_enable = "false";
									cil_settletime = "0";
									dynamic_pixel_bit_depth = "16";
									csi_pixel_bit_depth = "16";
									mode_type = "yuv";
									pixel_phase = "uyvy";

									active_w = "1920";
									active_h = "1536";
									readout_orientation = "0";
									line_length = "2200";
									inherent_gain = "1";
									pix_clk_hz = "74250000";
									serdes_pix_clk_hz = "300000000";

									gain_factor = "100";
									min_gain_val = "100"; /* dB */
									max_gain_val = "1600"; /* dB */
									step_gain_val = "1"; /* 0.1 */
									default_gain = "100";
									min_hdr_ratio = "1";
									max_hdr_ratio = "1";
									framerate_factor = "1000000";
									min_framerate = "30000000";
									max_framerate = "30000000";
									step_framerate = "1";
									default_framerate = "30000000";
									exposure_factor = "1000000";
									min_exp_time = "28"; /*us, 2 lines*/
									max_exp_time = "22000";
									step_exp_time = "1";
									default_exp_time = "22000";/* us */
									embedded_metadata_height = "0";
								};
								mode3 {/*mode SENSOR_MODE_2880X1860_30FPS*/
									mclk_khz = "24000";
									num_lanes = "4";
									tegra_sinterface = "serial_e";
									vc_id = "2";
									discontinuous_clk = "no";
									dpcm_enable = "false";
									cil_settletime = "0";
									dynamic_pixel_bit_depth = "16";
									csi_pixel_bit_depth = "16";
									mode_type = "yuv";
									pixel_phase = "uyvy";
								
									active_w = "2880";
									active_h = "1860";
									readout_orientation = "0";
									line_length = "3200";
									inherent_gain = "1";
									pix_clk_hz = "297000000";
									serdes_pix_clk_hz = "300000000";

									gain_factor = "100";
									min_gain_val = "100"; /* dB */
									max_gain_val = "1600"; /* dB */
									step_gain_val = "1"; /* 0.1 */
									default_gain = "100";
									min_hdr_ratio = "1";
									max_hdr_ratio = "1";
									framerate_factor = "1000000";
									min_framerate = "30000000";
									max_framerate = "30000000";
									step_framerate = "1";
									default_framerate = "30000000";
									exposure_factor = "1000000";
									min_exp_time = "59"; /*us, 2 lines*/
									max_exp_time = "33333";
									step_exp_time = "1";
									default_exp_time = "33333";/* us */
									embedded_metadata_height = "0";
								};
								mode4 {/*mode SENSOR_MODE_3840X2160_30FPS*/
									mclk_khz = "24000";
									num_lanes = "4";
									tegra_sinterface = "serial_e";
									vc_id = "2";
									discontinuous_clk = "no";
									dpcm_enable = "false";
									cil_settletime = "0";
									dynamic_pixel_bit_depth = "16";
									csi_pixel_bit_depth = "16";
									mode_type = "yuv";
									pixel_phase = "uyvy";

									active_w = "3840";
									active_h = "2160";
									readout_orientation = "0";
									line_length = "4200";
									inherent_gain = "1";
									pix_clk_hz = "248832000";
									serdes_pix_clk_hz = "375000000";

									gain_factor = "100";
									min_gain_val = "100"; /* dB */
									max_gain_val = "1600"; /* dB */
									step_gain_val = "1"; /* 0.1 */
									default_gain = "100";
									min_hdr_ratio = "1";
									max_hdr_ratio = "1";
									framerate_factor = "1000000";
									min_framerate = "30000000";
									max_framerate = "30000000";
									step_framerate = "1";
									default_framerate = "30000000";
									exposure_factor = "1000000";
									min_exp_time = "28"; /*us, 2 lines*/
									max_exp_time = "22000";
									step_exp_time = "1";
									default_exp_time = "22000";/* us */
									embedded_metadata_height = "0";
								};

								ports {
									#address-cells = <1>;
									#size-cells = <0>;
									port@0 {
										reg = <0>;
										cam_csi_out6: endpoint {
											vc-id = <2>;
											port-index = <4>;
											bus-width = <4>;
											remote-endpoint = <&jetson_csi_in6>;
										};
									};
								};
							};

							cam_5@1b {
								status = "okay";
								compatible = "sensing,sgx-yuv-gmsl2-5";
								reg = <0x1b>;
								
								devnode = "video5";
								physical_w = "15.0";
								physical_h = "12.5";
								sensor_model ="sgx-yuv-gmsl2";

								post_crop_frame_drop = "0";
								use_decibel_gain = "true";

								/* enable CID_SENSOR_MODE_ID for sensor modes selection */
								use_sensor_mode_id = "true";

								/* Define any required hw resources needed by driver */
								/* ie. clocks, io pins, power sources */
								clocks = <&bpmp TEGRA234_CLK_EXTPERIPH1>,
									<&bpmp TEGRA234_CLK_EXTPERIPH1>;
								clock-names = "extperiph1", "pllp_grtba";
								mclk = "extperiph1";
								der_id = <1>;
								reset-gpios = <&gpio CAM1_PWDN GPIO_ACTIVE_HIGH>;
								poc-gpios = <&gpio CAM_VDD_SYS_EN GPIO_ACTIVE_HIGH>;
								
								mode0 {/*mode SENSOR_MODE_1280X720_30FPS*/
									mclk_khz = "24000";
									num_lanes = "4";
									tegra_sinterface = "serial_g";
									vc_id = "1";
									discontinuous_clk = "no";
									dpcm_enable = "false";
									cil_settletime = "0";
									dynamic_pixel_bit_depth = "16";
									csi_pixel_bit_depth = "16";
									mode_type = "yuv";
									pixel_phase = "uyvy";
									
									active_w = "1280";
									active_h = "720";
									readout_orientation = "0";
									line_length = "2200";
									inherent_gain = "1";
									pix_clk_hz = "150000000";
									serdes_pix_clk_hz = "350000000";
									gain_factor = "16";
									min_gain_val = "16"; /* 1.00x */
									max_gain_val = "356"; /* 22x */
									step_gain_val = "1";
									default_gain = "16"; /* 1.00x */
									min_hdr_ratio = "1";
									max_hdr_ratio = "1";
									framerate_factor = "1000000";
									min_framerate = "30000000";
									max_framerate = "30000000";
									step_framerate = "1";
									default_framerate = "30000000";
									exposure_factor = "1000000";
									min_exp_time = "59"; /*us, 2 lines*/
									max_exp_time = "33333";
									step_exp_time = "1";
									default_exp_time = "33333";/* us */
									embedded_metadata_height = "0";
								};
								mode1 {/*mode SENSOR_MODE_1920X1080_30FPS*/
									mclk_khz = "24000";
									num_lanes = "4";
									tegra_sinterface = "serial_g";
									vc_id = "1";
									discontinuous_clk = "no";
									dpcm_enable = "false";
									cil_settletime = "0";
									dynamic_pixel_bit_depth = "16";
									csi_pixel_bit_depth = "16";
									mode_type = "yuv";
									pixel_phase = "uyvy";

									active_w = "1920";
									active_h = "1080";
									readout_orientation = "0";
									line_length = "2200";
									inherent_gain = "1";
									pix_clk_hz = "74250000";
									serdes_pix_clk_hz = "300000000";

									gain_factor = "100";
									min_gain_val = "100"; /* dB */
									max_gain_val = "1600"; /* dB */
									step_gain_val = "1"; /* 0.1 */
									default_gain = "100";
									min_hdr_ratio = "1";
									max_hdr_ratio = "1";
									framerate_factor = "1000000";
									min_framerate = "30000000";
									max_framerate = "30000000";
									step_framerate = "1";
									default_framerate = "30000000";
									exposure_factor = "1000000";
									min_exp_time = "28"; /*us, 2 lines*/
									max_exp_time = "22000";
									step_exp_time = "1";
									default_exp_time = "22000";/* us */
									embedded_metadata_height = "0";
								};
								mode2 {/*mode SENSOR_MODE_1920X1536_30FPS*/
									mclk_khz = "24000";
									num_lanes = "4";
									tegra_sinterface = "serial_g";
									vc_id = "1";
									discontinuous_clk = "no";
									dpcm_enable = "false";
									cil_settletime = "0";
									dynamic_pixel_bit_depth = "16";
									csi_pixel_bit_depth = "16";
									mode_type = "yuv";
									pixel_phase = "uyvy";

									active_w = "1920";
									active_h = "1536";
									readout_orientation = "0";
									line_length = "2200";
									inherent_gain = "1";
									pix_clk_hz = "74250000";
									serdes_pix_clk_hz = "300000000";

									gain_factor = "100";
									min_gain_val = "100"; /* dB */
									max_gain_val = "1600"; /* dB */
									step_gain_val = "1"; /* 0.1 */
									default_gain = "100";
									min_hdr_ratio = "1";
									max_hdr_ratio = "1";
									framerate_factor = "1000000";
									min_framerate = "30000000";
									max_framerate = "30000000";
									step_framerate = "1";
									default_framerate = "30000000";
									exposure_factor = "1000000";
									min_exp_time = "28"; /*us, 2 lines*/
									max_exp_time = "22000";
									step_exp_time = "1";
									default_exp_time = "22000";/* us */
									embedded_metadata_height = "0";
								};
								mode3 {/*mode SENSOR_MODE_2880X1860_30FPS*/
									mclk_khz = "24000";
									num_lanes = "4";
									tegra_sinterface = "serial_g";
									vc_id = "1";
									discontinuous_clk = "no";
									dpcm_enable = "false";
									cil_settletime = "0";
									dynamic_pixel_bit_depth = "16";
									csi_pixel_bit_depth = "16";
									mode_type = "yuv";
									pixel_phase = "uyvy";
								
									active_w = "2880";
									active_h = "1860";
									readout_orientation = "0";
									line_length = "3200";
									inherent_gain = "1";
									pix_clk_hz = "297000000";
									serdes_pix_clk_hz = "300000000";

									gain_factor = "100";
									min_gain_val = "100"; /* dB */
									max_gain_val = "1600"; /* dB */
									step_gain_val = "1"; /* 0.1 */
									default_gain = "100";
									min_hdr_ratio = "1";
									max_hdr_ratio = "1";
									framerate_factor = "1000000";
									min_framerate = "30000000";
									max_framerate = "30000000";
									step_framerate = "1";
									default_framerate = "30000000";
									exposure_factor = "1000000";
									min_exp_time = "59"; /*us, 2 lines*/
									max_exp_time = "33333";
									step_exp_time = "1";
									default_exp_time = "33333";/* us */
									embedded_metadata_height = "0";
								};
								mode4 {/*mode SENSOR_MODE_3840X2160_30FPS*/
									mclk_khz = "24000";
									num_lanes = "4";
									tegra_sinterface = "serial_g";
									vc_id = "1";
									discontinuous_clk = "no";
									dpcm_enable = "false";
									cil_settletime = "0";
									dynamic_pixel_bit_depth = "16";
									csi_pixel_bit_depth = "16";
									mode_type = "yuv";
									pixel_phase = "uyvy";

									active_w = "3840";
									active_h = "2160";
									readout_orientation = "0";
									line_length = "4200";
									inherent_gain = "1";
									pix_clk_hz = "248832000";
									serdes_pix_clk_hz = "375000000";

									gain_factor = "100";
									min_gain_val = "100"; /* dB */
									max_gain_val = "1600"; /* dB */
									step_gain_val = "1"; /* 0.1 */
									default_gain = "100";
									min_hdr_ratio = "1";
									max_hdr_ratio = "1";
									framerate_factor = "1000000";
									min_framerate = "30000000";
									max_framerate = "30000000";
									step_framerate = "1";
									default_framerate = "30000000";
									exposure_factor = "1000000";
									min_exp_time = "28"; /*us, 2 lines*/
									max_exp_time = "22000";
									step_exp_time = "1";
									default_exp_time = "22000";/* us */
									embedded_metadata_height = "0";
								};

								ports {
									#address-cells = <1>;
									#size-cells = <0>;
									port@0 {
										reg = <0>;
										cam_csi_out5: endpoint {
											vc-id = <1>;
											port-index = <6>;
											bus-width = <4>;
											remote-endpoint = <&jetson_csi_in5>;
										};
									};
								};
							};

							cam_4@1a {
								status = "okay";
								compatible = "sensing,sgx-yuv-gmsl2-4";
								reg = <0x1a>;
								
								devnode = "video4";
								physical_w = "15.0";
								physical_h = "12.5";
								sensor_model ="sgx-yuv-gmsl2";

								post_crop_frame_drop = "0";
								use_decibel_gain = "true";

								/* enable CID_SENSOR_MODE_ID for sensor modes selection */
								use_sensor_mode_id = "true";

								/* Define any required hw resources needed by driver */
								/* ie. clocks, io pins, power sources */
								clocks = <&bpmp TEGRA234_CLK_EXTPERIPH1>,
									<&bpmp TEGRA234_CLK_EXTPERIPH1>;
								clock-names = "extperiph1", "pllp_grtba";
								mclk = "extperiph1";
								der_id = <1>;
								reset-gpios = <&gpio CAM1_PWDN GPIO_ACTIVE_HIGH>;
								poc-gpios = <&gpio CAM_VDD_SYS_EN GPIO_ACTIVE_HIGH>;

								mode0 {/*mode SENSOR_MODE_1280X720_30FPS*/
									mclk_khz = "24000";
									num_lanes = "4";
									tegra_sinterface = "serial_g";
									vc_id = "0";
									discontinuous_clk = "no";
									dpcm_enable = "false";
									cil_settletime = "0";
									dynamic_pixel_bit_depth = "16";
									csi_pixel_bit_depth = "16";
									mode_type = "yuv";
									pixel_phase = "uyvy";
									
									active_w = "1280";
									active_h = "720";
									readout_orientation = "0";
									line_length = "2200";
									inherent_gain = "1";
									pix_clk_hz = "150000000";
									serdes_pix_clk_hz = "350000000";
									gain_factor = "16";
									min_gain_val = "16"; /* 1.00x */
									max_gain_val = "356"; /* 22x */
									step_gain_val = "1";
									default_gain = "16"; /* 1.00x */
									min_hdr_ratio = "1";
									max_hdr_ratio = "1";
									framerate_factor = "1000000";
									min_framerate = "30000000";
									max_framerate = "30000000";
									step_framerate = "1";
									default_framerate = "30000000";
									exposure_factor = "1000000";
									min_exp_time = "59"; /*us, 2 lines*/
									max_exp_time = "33333";
									step_exp_time = "1";
									default_exp_time = "33333";/* us */
									embedded_metadata_height = "0";
								};
								mode1 {/*mode SENSOR_MODE_1920X1080_30FPS*/
									mclk_khz = "24000";
									num_lanes = "4";
									tegra_sinterface = "serial_g";
									vc_id = "0";
									discontinuous_clk = "no";
									dpcm_enable = "false";
									cil_settletime = "0";
									dynamic_pixel_bit_depth = "16";
									csi_pixel_bit_depth = "16";
									mode_type = "yuv";
									pixel_phase = "uyvy";

									active_w = "1920";
									active_h = "1080";
									readout_orientation = "0";
									line_length = "2200";
									inherent_gain = "1";
									pix_clk_hz = "74250000";
									serdes_pix_clk_hz = "300000000";

									gain_factor = "100";
									min_gain_val = "100"; /* dB */
									max_gain_val = "1600"; /* dB */
									step_gain_val = "1"; /* 0.1 */
									default_gain = "100";
									min_hdr_ratio = "1";
									max_hdr_ratio = "1";
									framerate_factor = "1000000";
									min_framerate = "30000000";
									max_framerate = "30000000";
									step_framerate = "1";
									default_framerate = "30000000";
									exposure_factor = "1000000";
									min_exp_time = "28"; /*us, 2 lines*/
									max_exp_time = "22000";
									step_exp_time = "1";
									default_exp_time = "22000";/* us */
									embedded_metadata_height = "0";
								};
								mode2 {/*mode SENSOR_MODE_1920X1536_30FPS*/
									mclk_khz = "24000";
									num_lanes = "4";
									tegra_sinterface = "serial_g";
									vc_id = "0";
									discontinuous_clk = "no";
									dpcm_enable = "false";
									cil_settletime = "0";
									dynamic_pixel_bit_depth = "16";
									csi_pixel_bit_depth = "16";
									mode_type = "yuv";
									pixel_phase = "uyvy";

									active_w = "1920";
									active_h = "1536";
									readout_orientation = "0";
									line_length = "2200";
									inherent_gain = "1";
									pix_clk_hz = "74250000";
									serdes_pix_clk_hz = "300000000";

									gain_factor = "100";
									min_gain_val = "100"; /* dB */
									max_gain_val = "1600"; /* dB */
									step_gain_val = "1"; /* 0.1 */
									default_gain = "100";
									min_hdr_ratio = "1";
									max_hdr_ratio = "1";
									framerate_factor = "1000000";
									min_framerate = "30000000";
									max_framerate = "30000000";
									step_framerate = "1";
									default_framerate = "30000000";
									exposure_factor = "1000000";
									min_exp_time = "28"; /*us, 2 lines*/
									max_exp_time = "22000";
									step_exp_time = "1";
									default_exp_time = "22000";/* us */
									embedded_metadata_height = "0";
								};
								mode3 {/*mode SENSOR_MODE_2880X1860_30FPS*/
									mclk_khz = "24000";
									num_lanes = "4";
									tegra_sinterface = "serial_g";
									vc_id = "0";
									discontinuous_clk = "no";
									dpcm_enable = "false";
									cil_settletime = "0";
									dynamic_pixel_bit_depth = "16";
									csi_pixel_bit_depth = "16";
									mode_type = "yuv";
									pixel_phase = "uyvy";
								
									active_w = "2880";
									active_h = "1860";
									readout_orientation = "0";
									line_length = "3200";
									inherent_gain = "1";
									pix_clk_hz = "297000000";
									serdes_pix_clk_hz = "300000000";

									gain_factor = "100";
									min_gain_val = "100"; /* dB */
									max_gain_val = "1600"; /* dB */
									step_gain_val = "1"; /* 0.1 */
									default_gain = "100";
									min_hdr_ratio = "1";
									max_hdr_ratio = "1";
									framerate_factor = "1000000";
									min_framerate = "30000000";
									max_framerate = "30000000";
									step_framerate = "1";
									default_framerate = "30000000";
									exposure_factor = "1000000";
									min_exp_time = "59"; /*us, 2 lines*/
									max_exp_time = "33333";
									step_exp_time = "1";
									default_exp_time = "33333";/* us */
									embedded_metadata_height = "0";
								};
								mode4 {/*mode SENSOR_MODE_3840X2160_30FPS*/
									mclk_khz = "24000";
									num_lanes = "4";
									tegra_sinterface = "serial_g";
									vc_id = "0";
									discontinuous_clk = "no";
									dpcm_enable = "false";
									cil_settletime = "0";
									dynamic_pixel_bit_depth = "16";
									csi_pixel_bit_depth = "16";
									mode_type = "yuv";
									pixel_phase = "uyvy";

									active_w = "3840";
									active_h = "2160";
									readout_orientation = "0";
									line_length = "4200";
									inherent_gain = "1";
									pix_clk_hz = "248832000";
									serdes_pix_clk_hz = "375000000";

									gain_factor = "100";
									min_gain_val = "100"; /* dB */
									max_gain_val = "1600"; /* dB */
									step_gain_val = "1"; /* 0.1 */
									default_gain = "100";
									min_hdr_ratio = "1";
									max_hdr_ratio = "1";
									framerate_factor = "1000000";
									min_framerate = "30000000";
									max_framerate = "30000000";
									step_framerate = "1";
									default_framerate = "30000000";
									exposure_factor = "1000000";
									min_exp_time = "28"; /*us, 2 lines*/
									max_exp_time = "22000";
									step_exp_time = "1";
									default_exp_time = "22000";/* us */
									embedded_metadata_height = "0";
								};

								ports {
									#address-cells = <1>;
									#size-cells = <0>;
									port@0 {
										reg = <0>;
										cam_csi_out4: endpoint {
											vc-id = <0>;
											port-index = <6>;
											bus-width = <4>;
											remote-endpoint = <&jetson_csi_in4>;
										};
									};
								};
							};
						};
					};
				};

				i2c@31e0000 {
					bmi088@68 {
						compatible = "bmi,bmi088";
						accel_i2c_addr = <0x18>;
						status = "okay";
						reg = <0x68>;
						accel_irq_gpio = <&gpio_aon IMU_INT1 GPIO_ACTIVE_HIGH>;
						gyro_irq_gpio = <&gpio_aon IMU_INT3 GPIO_ACTIVE_HIGH>;
						accel_matrix = [01 00 00 00 01 00 00 00 01];
						gyro_matrix = [01 00 00 00 01 00 00 00 01];
						accel_reg_0x53 = <0x0A>;
						gyro_reg_0x16 = <0x01>;
						gyro_reg_0x18 = <0x01>;
					};
				};
			};
		};
	};
};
